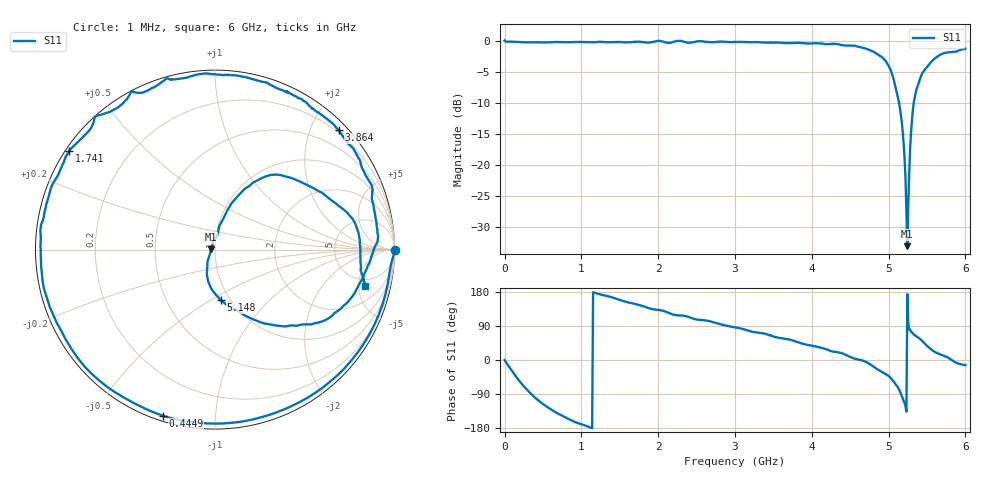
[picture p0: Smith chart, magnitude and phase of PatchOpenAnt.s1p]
# Hz S RI R 50
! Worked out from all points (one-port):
!   501 points, 1 MHz to 6 GHz, reference 50 ohm
!   lowest |S11| = -33.2 dB at 5.244 GHz (marker M1), VSWR 1.04, Z = 47.9 + j0.231 ohm
!   |S11| at or under -10 dB: 5.135 GHz to 5.328 GHz (192.8 MHz wide, 3.68 % of centre)
!   S11 on the Smith chart (normalised r, x): 1 MHz: open; 444.9 MHz: 0.02, -0.73; 1.741 GHz: 0.01, +0.31; 3.864 GHz: 0.15, +2.47; 5.148 GHz: 0.91, -0.56; 6 GHz: 3.80, -6.00
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1000000  1.004 -0.00157
9.6984e7  0.8603 -0.4724
2.16964e8  0.4663 -0.8523
3.24946e8  0.0816 -0.966
4.44926e8  -0.2916 -0.9248
6.12898e8  -0.6452 -0.7291
7.56874e8  -0.8194 -0.52
1.032828e9  -0.9637 -0.1423
1.50075e9  -0.9074 0.3594
1.74071e9  -0.8122 0.5511
2.256624e9  -0.4659 0.8811
3.0005e9  0.0697 0.9745
3.756374e9  0.5978 0.7479
3.864356e9  0.6891 0.6647
4.368272e9  0.8767 0.3114
4.50025e9  0.9014 0.1249
4.836194e9  0.733 -0.2993
5.016164e9  0.424 -0.4222
5.148142e9  0.0337 -0.282
5.184136e9  -0.0374 -0.1795
5.22013e9  -0.0417 -0.0668
5.244126e9  -0.0219 0.00241
5.256124e9  -0.00721 0.0467
5.292118e9  0.0478 0.1746
5.316114e9  0.0928 0.2589
5.412098e9  0.2836 0.4082
5.664056e9  0.7374 0.2054
6e9  0.8373 -0.2032
